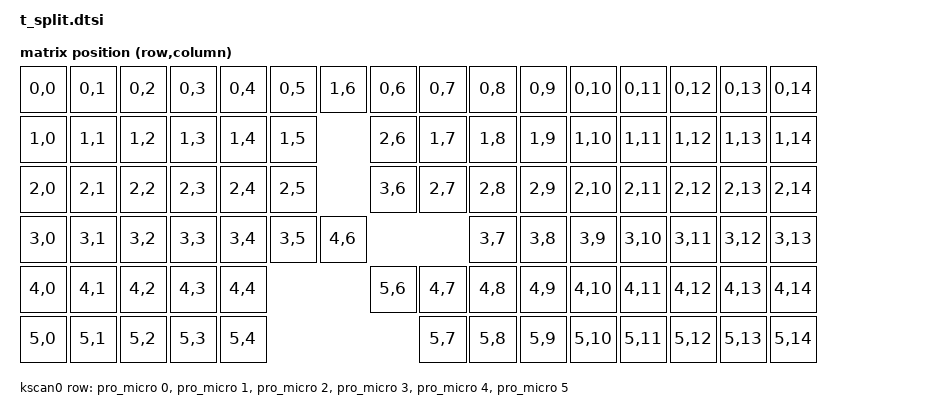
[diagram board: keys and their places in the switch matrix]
/*
 * Copyright (c) 2020 The ZMK Contributors
 *
 * SPDX-License-Identifier: MIT
 */

#include <dt-bindings/zmk/matrix_transform.h>

/ {
    chosen {
        zmk,kscan = &kscan0;
        zmk,matrix-transform = &default_transform;
    };

    default_transform: keymap_transform_0 {
        compatible = "zmk,matrix-transform";
        columns = <15>;
        rows = <6>;
// | SW1  | SW2  | SW3  | SW4  | SW5  | SW6  |     | SW1  | SW2  | SW3  | SW4  | SW5  | SW6  | SW7  | SW8  | SW9  | SW10 |            
// | SW7  | SW8  | SW9  | SW10 | SW11 | SW12 |            | SW11 | SW12 | SW13 | SW14 | SW15 | SW16 | SW17 | SW18 | SW19 |     
// | SW13 | SW14 | SW15 | SW16 | SW17 | SW18 |            | SW20 | SW21 | SW22 | SW23 | SW24 | SW25 | SW26 | SW27 | SW28 |     
// | SW19 | SW20 | SW21 | SW22 | SW23 | SW24 |                   | SW29 | SW30 | SW31 | SW32 | SW33 | SW34 | SW35 | SW36 |  
// | SW25 | SW26 | SW27 | SW28 | SW29 |                   | SW37 | SW38 | SW39 | SW40 | SW41 | SW42 | SW43 | SW44 | SW45 |
// | SW25 | SW26 | SW27 | SW28 | SW29 |                          | SW46 | SW47 | SW48 | SW49 | SW50 | SW51 | SW52 | SW53 |
        map = <
RC(0,0) RC(0,1) RC(0,2) RC(0,3) RC(0,4) RC(0,5)    RC(1,6) RC(0,6) RC(0,7) RC(0,8) RC(0,9) RC(0,10) RC(0,11) RC(0,12) RC(0,13) RC(0,14)      
RC(1,0) RC(1,1) RC(1,2) RC(1,3) RC(1,4) RC(1,5)            RC(2,6) RC(1,7) RC(1,8) RC(1,9) RC(1,10) RC(1,11) RC(1,12) RC(1,13) RC(1,14)      
RC(2,0) RC(2,1) RC(2,2) RC(2,3) RC(2,4) RC(2,5)            RC(3,6) RC(2,7) RC(2,8) RC(2,9) RC(2,10) RC(2,11) RC(2,12) RC(2,13) RC(2,14)    
RC(3,0) RC(3,1) RC(3,2) RC(3,3) RC(3,4) RC(3,5)                    RC(4,6) RC(3,7) RC(3,8) RC(3,9) RC(3,10) RC(3,11) RC(3,12) RC(3,13)   
RC(4,0) RC(4,1) RC(4,2) RC(4,3) RC(4,4)                    RC(5,6) RC(4,7) RC(4,8) RC(4,9) RC(4,10) RC(4,11) RC(4,12) RC(4,13) RC(4,14)     
RC(5,0) RC(5,1) RC(5,2) RC(5,3) RC(5,4)                            RC(5,7) RC(5,8) RC(5,9) RC(5,10) RC(5,11) RC(5,12) RC(5,13) RC(5,14)   
        >;
    };

    kscan0: kscan {
        compatible = "zmk,kscan-gpio-matrix";
        wakeup-source;

        diode-direction = "row2col";
        row-gpios
            = <&pro_micro 0 GPIO_ACTIVE_HIGH>
            , <&pro_micro 1 GPIO_ACTIVE_HIGH>
            , <&pro_micro 2 GPIO_ACTIVE_HIGH>
            , <&pro_micro 3 GPIO_ACTIVE_HIGH>
            , <&pro_micro 4 GPIO_ACTIVE_HIGH>
            , <&pro_micro 5 GPIO_ACTIVE_HIGH>
            ;

    };
};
